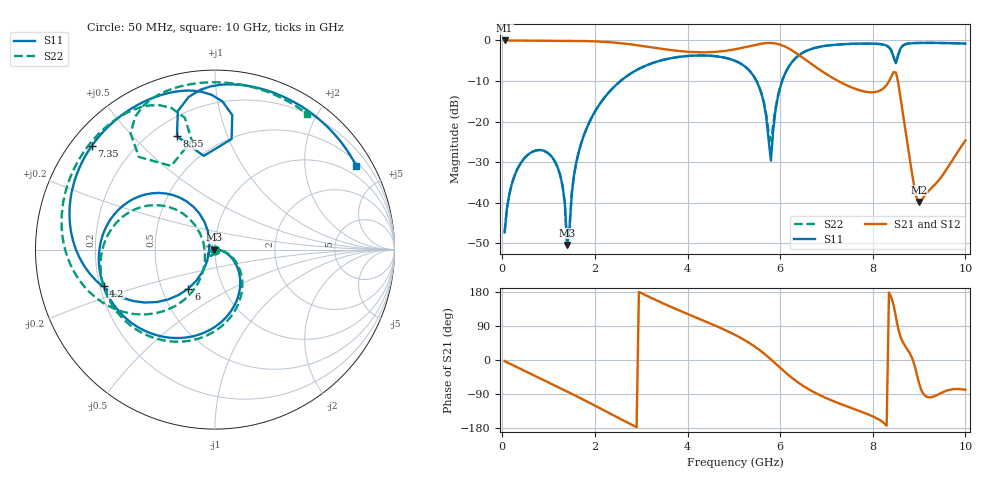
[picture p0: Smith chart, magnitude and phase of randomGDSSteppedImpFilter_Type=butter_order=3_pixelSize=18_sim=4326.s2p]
! freq	dB(S11)	phase(S11)	dB(S12)	phase(S12)
!  dB(S21)	phase(S21)	dB(S22)	phase(S22)
!S-par simulation data
#  GHz  S  DB  R 50
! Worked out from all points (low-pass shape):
!   200 points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, 50 MHz to 10 GHz, reference 50 ohm
!   highest |S21| = -0.01 dB at 50 MHz (marker M1); lowest = -39.8 dB at 9 GHz (marker M2)
!   |S21| within 3 dB of the highest: start of sweep to 6.33 GHz
!   lowest |S11| = -50.4 dB at 1.4 GHz (marker M3), VSWR 1.01, Z = 49.7 - j0.0584 ohm
!   |S11| at or under -10 dB: start of sweep to 2.552 GHz; 5.489 GHz to 6.044 GHz (555.8 MHz wide, 9.64 % of centre)
!   |S22| runs from -50.7 to -0.6 dB; largest |S21 - S12| = 0
!   S11 on the Smith chart (normalised r, x): 50 MHz: 1.00, -0.01; 4.2 GHz: 0.22, -0.15; 6 GHz: 0.68, -0.32; 7.35 GHz: 0.06, +0.37; 8.55 GHz: 0.30, +0.68; 10 GHz: 0.63, +3.55
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0.05  -47.27 -86.4  -0.01 -3.0  -0.01 -3.0  -47.28 -86.4
0.3  -32.33 -107.1  -0.03 -17.8  -0.03 -17.8  -32.33 -106.6
0.85  -27.04 -141.1  -0.07 -50.2  -0.07 -50.2  -27.05 -139.8
1.25  -33.16 -165.0  -0.09 -74.0  -0.09 -74.0  -33.20 -162.9
1.35  -39.99 -170.3  -0.10 -80.0  -0.10 -80.0  -40.09 -167.5
1.4  -50.38 -168.8  -0.10 -83.1  -0.10 -83.1  -50.67 -163.1
1.55  -33.13 -4.9  -0.11 -92.2  -0.11 -92.2  -33.07 -3.1
1.75  -23.75 -17.0  -0.15 -104.6  -0.15 -104.6  -23.72 -14.6
2.55  -10.02 -68.2  -0.67 -155.4  -0.67 -155.4  -10.01 -64.3
3.4  -5.02 -119.7  -2.00 153.5  -2.00 153.5  -5.01 -114.2
4.2  -3.71 -162.1  -2.89 111.3  -2.89 111.3  -3.70 -154.7
5.05  -5.14 151.5  -2.13 64.8  -2.13 64.8  -5.13 161.9
5.55  -11.56 116.5  -0.88 26.7  -0.88 26.7  -11.46 131.5
5.8  -29.60 -170.4  -0.64 1.6  -0.64 1.6  -24.74 -164.7
6  -11.60 -124.4  -1.04 -20.4  -1.04 -20.4  -11.42 -118.4
6.7  -2.02 176.4  -6.00 -83.0  -6.00 -83.0  -1.99 -171.1
7.35  -0.94 139.8  -10.57 -118.2  -10.57 -118.2  -0.93 155.3
8.35  -1.66 87.1  -10.06 178.1  -10.06 178.1  -1.67 107.1
8.45  -4.11 81.5  -7.80 144.5  -7.80 144.5  -4.13 102.0
8.55  -3.52 108.6  -10.41 82.4  -10.41 82.4  -3.50 129.4
9  -0.62 77.2  -39.78 -61.6  -39.78 -61.6  -0.62 99.7
10  -0.78 30.6  -24.64 -78.4  -24.64 -78.4  -0.79 55.9
